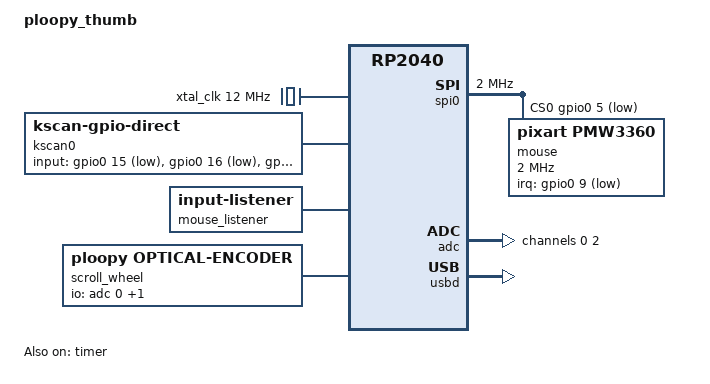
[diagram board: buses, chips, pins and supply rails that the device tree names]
/*
 * Copyright (c) 2025, George Norton
 * SPDX-License-Identifier: MIT
 */

/dts-v1/;

#include <raspberrypi/rpi_pico/rp2040.dtsi>
#include <arm/raspberrypi/rp2040-boot-mode-retention.dtsi>
#include "ploopy_thumb-pinctrl.dtsi"
#include "ploopy_thumb-layouts.dtsi"
#include <dt-bindings/zmk/matrix_transform.h>
#include <freq.h>

/ {
    model = "ploopy_thumb";
    compatible = "ploopy_thumb", "raspberrypi,rp2040";

    chosen {
        zephyr,sram = &sram0;
        zephyr,flash = &flash0;
        zephyr,flash-controller = &ssi;
        zephyr,code-partition = &code_partition;
        zmk,kscan = &kscan0;
    };

    xtal_clk: xtal-clk {
        compatible = "fixed-clock";
        clock-frequency = <12000000>;
        #clock-cells = <0>;
    };

    kscan0: kscan_0 {
        compatible = "zmk,kscan-gpio-direct";
        input-gpios
            = <&gpio0 15 (GPIO_ACTIVE_LOW | GPIO_PULL_UP)>  // MB3
            , <&gpio0 16 (GPIO_ACTIVE_LOW | GPIO_PULL_UP)>  // MB1
            , <&gpio0 17 (GPIO_ACTIVE_LOW | GPIO_PULL_UP)>  // MB4
            , <&gpio0 19 (GPIO_ACTIVE_LOW | GPIO_PULL_UP)>  // DPI
            , <&gpio0 21 (GPIO_ACTIVE_LOW | GPIO_PULL_UP)>  // MB2
            , <&gpio0 23 (GPIO_ACTIVE_LOW | GPIO_PULL_UP)>  // MB5
            ;
    };

    default_transform: matrix_transform {
        compatible = "zmk,matrix-transform";
        rows = <1>;
        columns = <6>;
        map = <
            RC(0,2) RC(0,3) RC(0,1) RC(0,0) RC(0,4) RC(0,5)
        >;
    };

    sleep_config: rp2040_sleep {
        compatible = "raspberrypi,rp2040-sleep";
        sleep-en0 = <0x140007>;
        sleep-en1 = <0x6c00>;
        wake-en0 = <0xf3ffcf3f>;
        wake-en1 = <0x7c3f>;
        deep-sleep;
    };
};

&physical_layout0 {
    kscan = <&kscan0>;
    transform = <&default_transform>;
};

#define PLOOPY_THUMB_FLASH_SIZE_M 16

&flash0 {
    /* 16MB of flash minus the 0x100 used for
     * the second stage bootloader
     */
    reg = <0x10000000 DT_SIZE_M(PLOOPY_THUMB_FLASH_SIZE_M)>;

    partitions {
        compatible = "fixed-partitions";
        #address-cells = <1>;
        #size-cells = <1>;

        /* Reserved memory for the second stage bootloader */
        second_stage_bootloader: partition@0 {
            reg = <0x00000000 0x100>;
            read-only;
        };

        /*
         * Start at the beginning of usable flash, PLOOPY_THUMB_FLASH_SIZE_M MB minus the
         * second stage space and the 16 KiB reserved for settings
         */
        code_partition: partition@100 {
            label = "code";
            reg = <0x100 (DT_SIZE_M(PLOOPY_THUMB_FLASH_SIZE_M) - 0x100 - DT_SIZE_K(16))>;
            read-only;
        };


        /* Set 16Kb of storage at the end of the of flash */
        storage_partition: partition@FFC000 {
            reg = <(DT_SIZE_M(PLOOPY_THUMB_FLASH_SIZE_M) - DT_SIZE_K(16)) DT_SIZE_K(16)>;
        };
    };
};

&spi0 {
    pinctrl-0 = <&spi0_default>;
    pinctrl-names = "default";
    status = "okay";
    cs-gpios = <&gpio0 5 GPIO_ACTIVE_LOW>;
    clock-frequency = <DT_FREQ_M(2)>;
    mouse: mouse@0 {
        compatible = "pixart,pmw3360";
        status = "okay";
        reg = <0>;
        spi-max-frequency = <DT_FREQ_M(2)>;

        // pmw3360 driver parameters
        irq-gpios = <&gpio0 9 (GPIO_ACTIVE_LOW | GPIO_PULL_UP)>;
        cpi = <900>;
    };
};

/ {
    mouse_listener {
        compatible = "zmk,input-listener";
        device = <&mouse>;
    };
};

&gpio0 {
    status = "okay";
    gpio-reserved-ranges = < 1 3 4 6 8 10 11 14 18 20 22 24 25 27 29 >;
};

&adc {
    #address-cells = <1>;
    #size-cells = <0>;
    status = "okay";
    pinctrl-0 = <&adc_default>;
    pinctrl-names = "default";

    channel@0 {
        reg = <0>;
        zephyr,gain = "ADC_GAIN_1";
        zephyr,reference = "ADC_REF_INTERNAL";
        zephyr,acquisition-time = <ADC_ACQ_TIME_DEFAULT>;
        zephyr,resolution = <12>;
    };

    channel@2 {
        reg = <2>;
        zephyr,gain = "ADC_GAIN_1";
        zephyr,reference = "ADC_REF_INTERNAL";
        zephyr,acquisition-time = <ADC_ACQ_TIME_DEFAULT>;
        zephyr,resolution = <12>;
    };
};

/ {
    scroll_wheel: scroll_wheel {
        compatible = "ploopy,optical-encoder";
        status = "okay";
        poll-period = <10>;
        event-startup-delay = <1000>;
        steps = <28>;
        io-channels = <&adc 0>, <&adc 2>;
    };

    sensors: sensors {
        compatible = "zmk,keymap-sensors";
        sensors = <&scroll_wheel>;
        triggers-per-rotation = <14>;
    };
};

zephyr_udc0: &usbd {
    status = "okay";
};

&timer {
  status = "okay";
};

&vreg {
    regulator-always-on;
    regulator-allowed-modes = <REGULATOR_RPI_PICO_MODE_NORMAL>;
};
